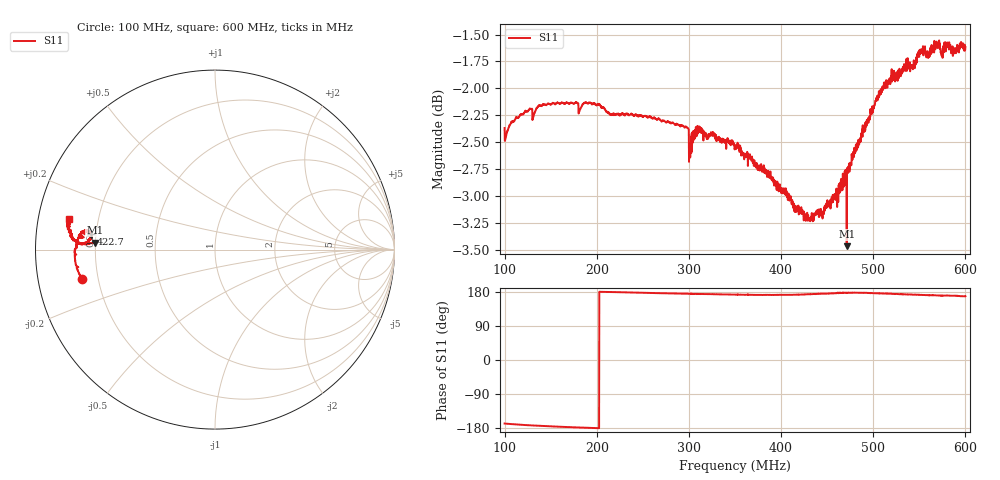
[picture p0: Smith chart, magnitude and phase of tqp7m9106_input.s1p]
# Hz S RI R 50
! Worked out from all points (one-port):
!   2020 points, 100 MHz to 600 MHz, reference 50 ohm
!   lowest |S11| = -3.5 dB at 471.2 MHz (marker M1), VSWR 5.07, Z = 9.86 + j1.39 ohm
!   |S11| at or under -10 dB: nowhere
!   S11 on the Smith chart (normalised r, x): 100 MHz: 0.14, -0.11; 422.7 MHz: 0.18, +0.06; 600 MHz: 0.09, +0.10
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1e8  -0.7436 -0.1629
1.272412e8  -0.77 -0.1035
1.626548e8  -0.7805 -0.0491
2.082219e8  -0.7776 0.00669
2.250619e8  -0.7712 0.0153
2.877167e8  -0.7615 0.0643
2.973749e8  -0.7587 0.0716
3.025755e8  -0.7379 0.0696
3.117385e8  -0.7577 0.0779
3.501238e8  -0.7391 0.0967
3.795939e8  -0.7184 0.1069
4.12531e8  -0.6943 0.0976
4.226845e8  -0.6916 0.0887
4.320951e8  -0.6862 0.0772
4.447251e8  -0.69 0.0602
4.573551e8  -0.7063 0.0493
4.625557e8  -0.7155 0.0335
4.712234e8  -0.6696 0.0388
4.751857e8  -0.7325 0.0299
4.920258e8  -0.765 0.0357
5.105993e8  -0.7934 0.0591
5.375929e8  -0.8087 0.0994
5.680535e8  -0.8208 0.1396
5.744923e8  -0.8104 0.147
5.814264e8  -0.8199 0.1436
5.886082e8  -0.8117 0.1535
5.9579e8  -0.8153 0.1674
6e8  -0.813 0.1678
